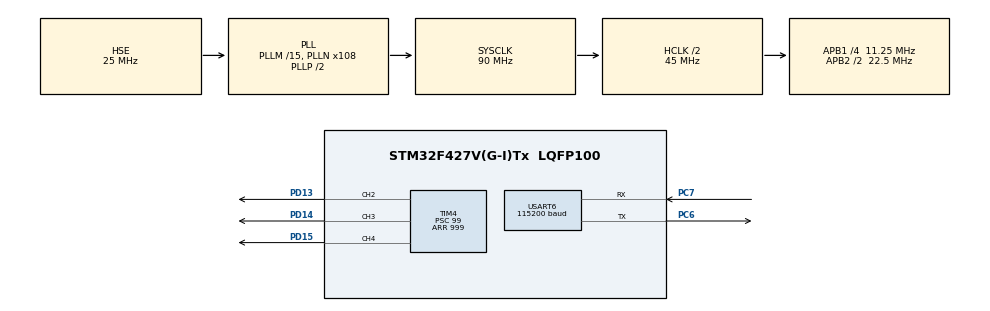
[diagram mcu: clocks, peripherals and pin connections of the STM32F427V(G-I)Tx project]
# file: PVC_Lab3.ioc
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Mcu.Family=STM32F4
Mcu.Name=STM32F427V(G-I)Tx
Mcu.Package=LQFP100
NVIC.PriorityGroup=NVIC_PRIORITYGROUP_4
NVIC.USART6_IRQn=true\:0\:0\:false\:false\:true\:true\:true\:true
PA13.Mode=JTAG_5_pins
PA13.Signal=SYS_JTMS-SWDIO
PA14.Mode=JTAG_5_pins
PA14.Signal=SYS_JTCK-SWCLK
PA15.Mode=JTAG_5_pins
PA15.Signal=SYS_JTDI
PB3.Mode=JTAG_5_pins
PB3.Signal=SYS_JTDO-SWO
PB4.Mode=JTAG_5_pins
PB4.Signal=SYS_JTRST
PC6.Mode=Asynchronous
PC6.Signal=USART6_TX
PC7.Mode=Asynchronous
PC7.Signal=USART6_RX
PD13.Signal=S_TIM4_CH2
PD14.Signal=S_TIM4_CH3
PD15.Signal=S_TIM4_CH4
PH0/OSC_IN.Mode=HSE-External-Oscillator
PH0/OSC_IN.Signal=RCC_OSC_IN
PH1/OSC_OUT.Mode=HSE-External-Oscillator
PH1/OSC_OUT.Signal=RCC_OSC_OUT
ProjectManager.HeapSize=0x200
ProjectManager.StackSize=0x400
ProjectManager.TargetToolchain=STM32CubeIDE
RCC.48MHZClocksFreq_Value=45000000
RCC.AHBCLKDivider=RCC_SYSCLK_DIV2
RCC.AHBFreq_Value=45000000
RCC.APB1CLKDivider=RCC_HCLK_DIV4
RCC.APB1Freq_Value=11250000
RCC.APB1TimFreq_Value=22500000
RCC.APB2CLKDivider=RCC_HCLK_DIV2
RCC.APB2Freq_Value=22500000
RCC.APB2TimFreq_Value=45000000
RCC.CortexFreq_Value=45000000
RCC.HCLKFreq_Value=45000000
RCC.HSE_VALUE=25000000
RCC.HSI_VALUE=16000000
RCC.LSE_VALUE=32768
RCC.PLLM=15
RCC.PLLN=108
RCC.PLLSourceVirtual=RCC_PLLSOURCE_HSE
RCC.SYSCLKFreq_VALUE=90000000
RCC.SYSCLKSource=RCC_SYSCLKSOURCE_PLLCLK
RCC.VCOOutputFreq_Value=180000000
SH.S_TIM4_CH2.0=TIM4_CH2,PWM Generation2 CH2
SH.S_TIM4_CH3.0=TIM4_CH3,PWM Generation3 CH3
SH.S_TIM4_CH4.0=TIM4_CH4,PWM Generation4 CH4
TIM4.Channel-PWM\ Generation2\ CH2=TIM_CHANNEL_2
TIM4.Channel-PWM\ Generation3\ CH3=TIM_CHANNEL_3
TIM4.Channel-PWM\ Generation4\ CH4=TIM_CHANNEL_4
TIM4.Period=999
TIM4.Prescaler=99
TIM4.Pulse-PWM\ Generation2\ CH2=500
TIM4.Pulse-PWM\ Generation3\ CH3=500
TIM4.Pulse-PWM\ Generation4\ CH4=500
USART6.BaudRate=115200
USART6.VirtualMode=VM_ASYNC
board=custom

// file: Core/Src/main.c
/* USER CODE BEGIN Header */
/**
  ******************************************************************************
  * @file           : main.c
  * @brief          : Main program body
  ******************************************************************************
  * @attention
  *
  * Copyright (c) 2022 STMicroelectronics.
  * All rights reserved.
  *
  * This software is licensed under terms that can be found in the LICENSE file
  * in the root directory of this software component.
  * If no LICENSE file comes with this software, it is provided AS-IS.
  *
  ******************************************************************************
  */
/* USER CODE END Header */
#include "main.h"
#include "tim.h"
#include "usart.h"
#include "gpio.h"

/* USER CODE BEGIN Includes */

#include "mode.c"
#include <stdbool.h>
#include <string.h>
#include <stdlib.h>

/* USER CODE END Includes */

/* USER CODE BEGIN PD */
#define MODES_LENGTH 9
#define TIMEOUT 10
/* USER CODE END PD */

/* USER CODE BEGIN PV */

struct Mode MODES[] = {
		  {LED_GREEN, 10},
		  {LED_GREEN, 40},
		  {LED_GREEN, 100},
		  {LED_YELLOW, 10},
		  {LED_YELLOW, 40},
		  {LED_YELLOW, 100},
		  {LED_RED, 10},
		  {LED_RED, 40},
		  {LED_RED, 100}
};

struct Mode buffer_mode = {LED_GREEN, 0};
int input_index = 0;

bool is_setting_mode = false;

/* USER CODE END PV */

void SystemClock_Config(void);

/* USER CODE BEGIN 0 */

void handle_setting(char received_char) {
	if (received_char == '\r') {
		is_setting_mode = false;
		MODES[input_index].led = buffer_mode.led;
		MODES[input_index].brightness = buffer_mode.brightness;
		print("Mode is saved\n\r");
		print("Setting mode is off\n\r");
	} else {
		bool changed = true;
		int i = atoi(&received_char) - 1;
		if (i >= 0) {
			input_index = i;
			buffer_mode.led = MODES[input_index].led;
			buffer_mode.brightness = MODES[input_index].brightness;
		} else switch (received_char) {
			case 'a' :
				buffer_mode.led = LED_GREEN;
				break;
			case 'b' :
				buffer_mode.led = LED_YELLOW;
				break;
			case 'c' :
				buffer_mode.led = LED_RED;
				break;
			case '-' :
				buffer_mode.brightness = buffer_mode.brightness >= 10 ? buffer_mode.brightness - 10 : 0;
				break;
			case '+' :
				buffer_mode.brightness = buffer_mode.brightness <= 90 ? buffer_mode.brightness + 10 : 100;
				break;
			default:
				changed = false;
				break;
		}
		if (changed) print_mode_description(buffer_mode, input_index);
	}

	return;
}

void handle_default(char received_char) {
	if (received_char == '\r') {
		is_setting_mode = true;
		print("Setting mode is on\n\r");
	} else {
		int mode_index = atoi(&received_char) - 1;
		if (mode_index != -2) {
			if (mode_index != -1) {
				set_pin(MODES[mode_index].led, MODES[mode_index].brightness);
				print_mode_description(MODES[mode_index], -1);
			} else {
				set_pin(-1, 0);
				print("Every pin is off\n\r");
			}
		}
	}

	return;
}

void set_pin(int led, int brightness){
	htim4.Instance->CCR2 = 0;
	htim4.Instance->CCR3 = 0;
	htim4.Instance->CCR4 = 0;

	switch (led) {
		case 0 :
			htim4.Instance->CCR2 = 10 * brightness;
			break;
		case 1 :
			htim4.Instance->CCR3 = 10 * brightness;
			break;
		case 2 :
			htim4.Instance->CCR4 = 10 * brightness;
			break;
	}
}

void print(const char * content) {
	HAL_UART_Transmit( &huart6, (uint8_t *) content, strlen(content), 10);

	//uart_sendstring(content);
}

void print_mode_description(struct Mode mode, int index){
	if (index >= 0){
		print("Editing mode ");
		char str_index[1];
		sprintf(str_index, "%i", index + 1);
		print(str_index);
		print(" :");
	} else print("Mode: ");
	switch (mode.led) {
		case 0 : print("green, "); break;
		case 1 : print("yellow, "); break;
		case 2 : print("red, "); break;
	}
	char mode_brightness[3];
	sprintf(mode_brightness, "%i", mode.brightness);
	print(mode_brightness);
	print("% brightness\n\r");
}

/* USER CODE END 0 */

int main(void)
{

  /* MCU Configuration--------------------------------------------------------*/

  /* Reset of all peripherals, Initializes the Flash interface and the Systick. */
  HAL_Init();

  /* Configure the system clock */
  SystemClock_Config();

  /* Initialize all configured peripherals */
  MX_GPIO_Init();
  MX_USART6_UART_Init();
  MX_TIM4_Init();

  /* Infinite loop */
  /* USER CODE BEGIN WHILE */
  HAL_TIM_PWM_Start(&htim4, TIM_CHANNEL_2);
  HAL_TIM_PWM_Start(&htim4, TIM_CHANNEL_3);
  HAL_TIM_PWM_Start(&htim4, TIM_CHANNEL_4);
  __HAL_UART_ENABLE_IT(&huart6, UART_IT_TXE);
  __HAL_UART_ENABLE_IT(&huart6, UART_IT_RXNE);
  set_pin(-1, 0);
  while (1)
  {
    /* USER CODE END WHILE */

    /* USER CODE BEGIN 3 */
	  char received_char;
	  if( HAL_OK == HAL_UART_Receive( &huart6, (uint8_t *) &received_char, 1, 1 ) ) {
		  if (is_setting_mode) {
		  	  handle_setting(received_char);
		  } else {
			  handle_default(received_char);
	      }
	  }
  }

  /* USER CODE END 3 */
}

void SystemClock_Config(void)
{
  RCC_OscInitTypeDef RCC_OscInitStruct = {0};
  RCC_ClkInitTypeDef RCC_ClkInitStruct = {0};

  /** Configure the main internal regulator output voltage
  */
  __HAL_RCC_PWR_CLK_ENABLE();
  __HAL_PWR_VOLTAGESCALING_CONFIG(PWR_REGULATOR_VOLTAGE_SCALE3);

  /** Initializes the RCC Oscillators according to the specified parameters
  * in the RCC_OscInitTypeDef structure.
  */
  RCC_OscInitStruct.OscillatorType = RCC_OSCILLATORTYPE_HSE;
  RCC_OscInitStruct.HSEState = RCC_HSE_ON;
  RCC_OscInitStruct.PLL.PLLState = RCC_PLL_ON;
  RCC_OscInitStruct.PLL.PLLSource = RCC_PLLSOURCE_HSE;
  RCC_OscInitStruct.PLL.PLLM = 15;
  RCC_OscInitStruct.PLL.PLLN = 108;
  RCC_OscInitStruct.PLL.PLLP = RCC_PLLP_DIV2;
  RCC_OscInitStruct.PLL.PLLQ = 4;
  if (HAL_RCC_OscConfig(&RCC_OscInitStruct) != HAL_OK)
  {
    Error_Handler();
  }

  /** Initializes the CPU, AHB and APB buses clocks
  */
  RCC_ClkInitStruct.ClockType = RCC_CLOCKTYPE_HCLK|RCC_CLOCKTYPE_SYSCLK
                              |RCC_CLOCKTYPE_PCLK1|RCC_CLOCKTYPE_PCLK2;
  RCC_ClkInitStruct.SYSCLKSource = RCC_SYSCLKSOURCE_PLLCLK;
  RCC_ClkInitStruct.AHBCLKDivider = RCC_SYSCLK_DIV2;
  RCC_ClkInitStruct.APB1CLKDivider = RCC_HCLK_DIV4;
  RCC_ClkInitStruct.APB2CLKDivider = RCC_HCLK_DIV2;

  if (HAL_RCC_ClockConfig(&RCC_ClkInitStruct, FLASH_LATENCY_1) != HAL_OK)
  {
    Error_Handler();
  }
}

void Error_Handler(void)
{
  /* USER CODE BEGIN Error_Handler_Debug */
  /* User can add his own implementation to report the HAL error return state */
//  __disable_irq();
  while (1)
  {
  }
  /* USER CODE END Error_Handler_Debug */
}
